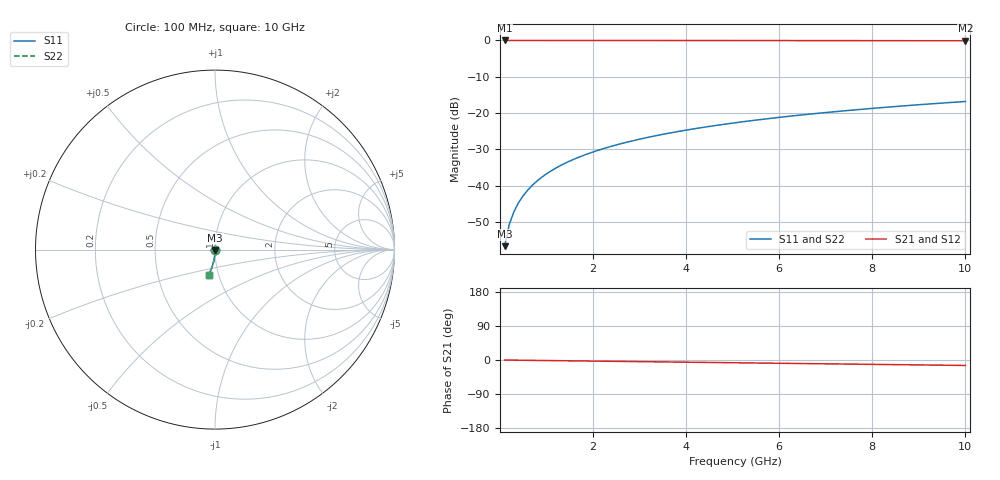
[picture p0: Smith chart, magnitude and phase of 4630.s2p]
# Hz S RI R 50.00
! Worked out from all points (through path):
!   100 points, 100 MHz to 10 GHz, reference 50 ohm
!   highest |S21| = 0.00 dB at 100 MHz (marker M1); lowest = -0.1 dB at 10 GHz (marker M2)
!   group delay of S21, straight-line fit = 4 ps
!   lowest |S11| = -56.7 dB at 100 MHz (marker M3), VSWR 1.00, Z = 50 - j0.145 ohm
!   |S11| at or under -10 dB: start of sweep to end of sweep
!   |S22| runs from -56.7 to -16.8 dB; largest |S21 - S12| = 0
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1e8  0.000161 -0.00145  0.9998 -0.0025  0.9998 -0.0025  0.000161 -0.00145
2e8  0.00015 -0.0029  0.9998 -0.00501  0.9998 -0.00501  0.00015 -0.0029
3e8  0.000131 -0.00435  0.9998 -0.00751  0.9998 -0.00751  0.000131 -0.00435
4e8  0.000104 -0.0058  0.9998 -0.01  0.9998 -0.01  0.000104 -0.0058
5e8  6.99e-05 -0.00725  0.9997 -0.0125  0.9997 -0.0125  6.99e-05 -0.00725
6e8  2.86e-05 -0.0087  0.9997 -0.015  0.9997 -0.015  2.86e-05 -0.0087
7e8  -2e-05 -0.0101  0.9996 -0.0175  0.9996 -0.0175  -2e-05 -0.0101
8e8  -7.59e-05 -0.0116  0.9995 -0.02  0.9995 -0.02  -7.59e-05 -0.0116
9e8  -0.000139 -0.013  0.9995 -0.0225  0.9995 -0.0225  -0.000139 -0.013
1.1e9  -0.000287 -0.0159  0.9993 -0.0275  0.9993 -0.0275  -0.000287 -0.0159
1.4e9  -0.000565 -0.0203  0.999 -0.035  0.999 -0.035  -0.000565 -0.0203
1.8e9  -0.00104 -0.0261  0.9984 -0.0451  0.9984 -0.0451  -0.00104 -0.0261
2.1e9  -0.00147 -0.0304  0.9979 -0.0526  0.9979 -0.0526  -0.00147 -0.0304
2.5e9  -0.00214 -0.0362  0.9972 -0.0626  0.9972 -0.0626  -0.00214 -0.0362
2.9e9  -0.00293 -0.042  0.9962 -0.0726  0.9962 -0.0726  -0.00293 -0.042
3.4e9  -0.00409 -0.0492  0.9949 -0.085  0.9949 -0.085  -0.00409 -0.0492
4.2e9  -0.00631 -0.0606  0.9923 -0.105  0.9923 -0.105  -0.00631 -0.0606
5.1e9  -0.00936 -0.0734  0.9888 -0.1273  0.9888 -0.1273  -0.00936 -0.0734
5.9e9  -0.0126 -0.0846  0.9851 -0.1471  0.9851 -0.1471  -0.0126 -0.0846
6.7e9  -0.0162 -0.0957  0.9809 -0.1667  0.9809 -0.1667  -0.0162 -0.0957
8.4e9  -0.0254 -0.1187  0.9702 -0.208  0.9702 -0.208  -0.0254 -0.1187
1e10  -0.0358 -0.1395  0.9581 -0.2461  0.9581 -0.2461  -0.0358 -0.1395
